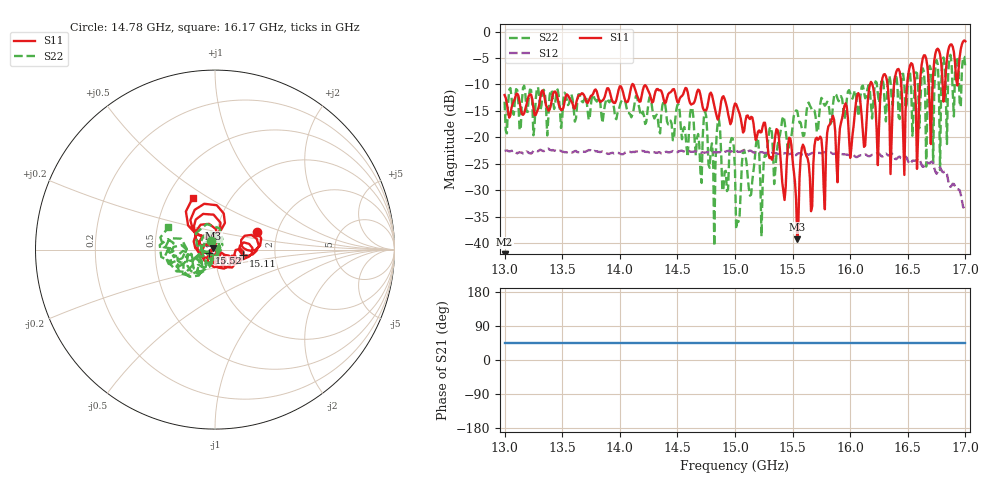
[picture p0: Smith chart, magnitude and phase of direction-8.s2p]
!Keysight Technologies,P9374A,MY57211810,A.19.30.04
!Date: Friday, May 02, 2025 08:57:42
!Correction: S11(Off)
!S21(Off)
!S12(Off)
!S22(Off)
!S2P File: Measurements: S11, S21, S12, S22:
# Hz S  dB  R 50
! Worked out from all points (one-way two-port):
!   401 points, 13 GHz to 17 GHz, reference 50 ohm
!   highest |S21| = - dB at 13 GHz (marker M1); lowest = - dB at 13 GHz (marker M2)
!   lowest |S11| = -39.2 dB at 15.54 GHz (marker M3), VSWR 1.02, Z = 49.1 + j0.613 ohm
!   |S11| at or under -10 dB: start of sweep to 14.11 GHz; 14.12 GHz to 16.17 GHz (2.055 GHz wide, 13.6 % of centre); 16.19237 GHz to 16.27102 GHz (78.65 MHz wide, 0.485 % of centre) (the widest 3 of 9)
!   |S22| runs from -40.5 to -4.4 dB; largest |S21 - S12| = 0.078
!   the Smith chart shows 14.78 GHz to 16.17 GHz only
!   S11 on the Smith chart (normalised r, x): 14.78 GHz: 1.58, +0.33; 15.11 GHz: 1.37, -0.09; 15.52 GHz: 0.93, -0.03; 16.17 GHz: 0.67, +0.43
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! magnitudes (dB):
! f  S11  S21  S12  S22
! 13 GHz  -12.0  -  -22.5  -13.2
! 13.67 GHz  -11.7  -  -22.7  -13.2
! 14.34 GHz  -11.1  -  -22.8  -18.7
! 14.78 GHz  -11.8  -  -22.8  -25.7
! 15 GHz  -13.6  -  -22.5  -26.3
! 15.11 GHz  -15.8  -  -22.7  -27.3
! 15.42 GHz  -30.1  -  -23.1  -16.0
! 15.48 GHz  -20.2  -  -23.1  -20.6
! 15.52 GHz  -28.3  -  -23.3  -15.3
! 15.54 GHz  -39.2  -  -23.1  -15.0
! 15.59 GHz  -21.4  -  -23.2  -19.7
! 15.67 GHz  -33.0  -  -22.9  -14.9
! 16.17 GHz  -10.1  -  -23.5  -10.8
! 16.34 GHz  -15.3  -  -23.4  -8.3
! 16.41 GHz  -7.1  -  -23.9  -10.2
! 16.47 GHz  -27.1  -  -23.7  -10.0
! 16.54 GHz  -6.2  -  -24.4  -19.7
! 16.58 GHz  -25.9  -  -24.2  -7.9
! 16.64 GHz  -4.5  -  -25.5  -7.6
! 16.7 GHz  -21.3  -  -24.7  -7.1
! 16.75 GHz  -3.4  -  -26.9  -5.4
! 17 GHz  -1.9  -  -33.5  -6.9
